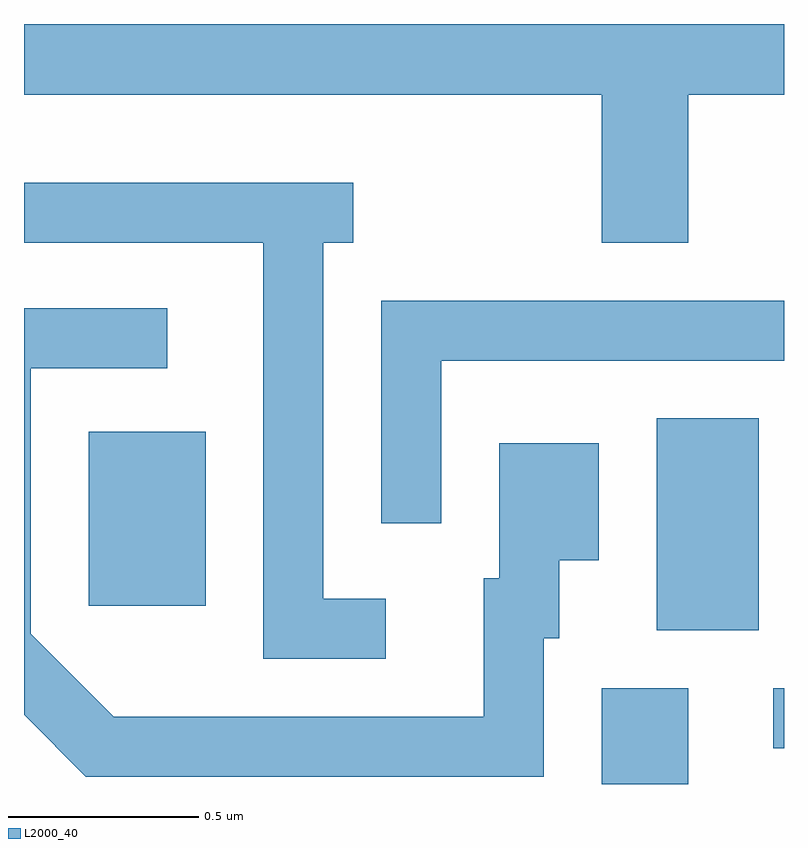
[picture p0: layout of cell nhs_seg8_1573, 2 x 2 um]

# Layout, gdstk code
import gdstk
lib = gdstk.Library(unit=1e-6, precision=1e-09)
def R(c, l, rs):  # rectangles x0, y0, x1, y1
    for r in rs: c.add(gdstk.rectangle(r[:2], r[2:], *l))
def P(c, l, *ps):  # polygons
    for p in ps: c.add(gdstk.Polygon(p, *l))
L2000_40 = (2000, 40)

nhs_seg8_1573 = lib.new_cell('nhs_seg8_1573')
R(nhs_seg8_1573, L2000_40, [(198.131,1872.342,198.359,1872.594), (198.583,1872.436,198.611,1872.594), (198.276,1872.746,198.544,1873.304), (196.781,1872.811,197.089,1873.269)])
P(nhs_seg8_1573, L2000_40, [(198.359,1874.156),(198.611,1874.156),(198.611,1874.342),(196.611,1874.342),(196.611,1874.156),(198.131,1874.156),(198.131,1873.766),(198.359,1873.766)],
  [(197.563,1872.829),(197.399,1872.829),(197.399,1873.766),(197.478,1873.766),(197.478,1873.924),(196.611,1873.924),(196.611,1873.766),(197.241,1873.766),(197.241,1872.671),(197.563,1872.671)],
  [(197.709,1873.456),(198.611,1873.456),(198.611,1873.614),(197.551,1873.614),(197.551,1873.028),(197.709,1873.028)],
  [(197.979,1872.726),(198.019,1872.726),(198.019,1872.931),(198.124,1872.931),(198.124,1873.239),(197.861,1873.239),(197.861,1872.884),(197.821,1872.884),(197.821,1872.519),(196.847,1872.519),(196.629,1872.737),(196.629,1873.436),(196.988,1873.436),(196.988,1873.594),(196.611,1873.594),(196.611,1872.524),(196.774,1872.361),(197.979,1872.361)])

lib.write_gds('nhs_seg8_1573.gds')
